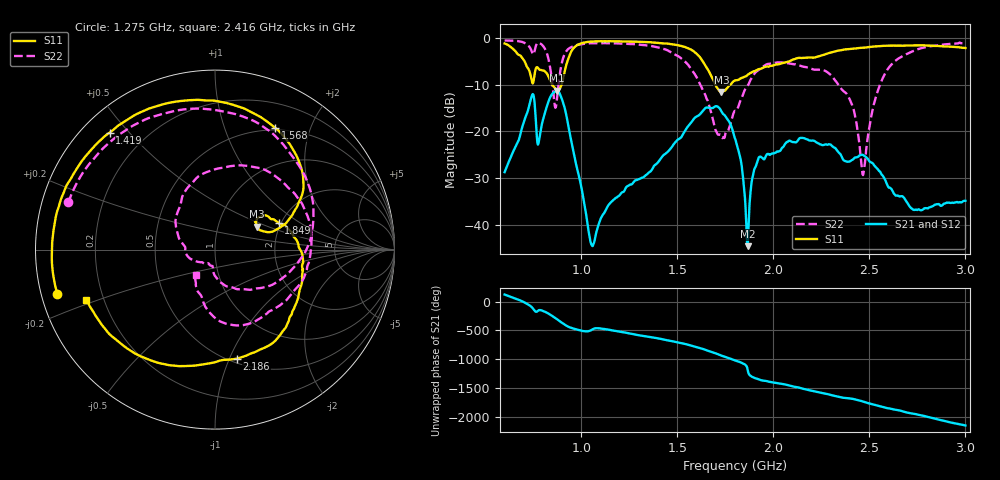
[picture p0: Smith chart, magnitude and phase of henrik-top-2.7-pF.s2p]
#  HZ  S  RI  R  50.00
! Rohde & Schwarz ZVB8 2Ports - Version 2.81 - 1145.1010k08 SN: 100113
! Date: 2016-04-20 03:09:24
! Measurements: S11 S21 S12 S22
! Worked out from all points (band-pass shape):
!   1000 points, 600 MHz to 3 GHz, reference 50 ohm
!   highest |S21| = -11.26 dB at 873.9 MHz (marker M1); lowest = -44.5 dB at 1.866 GHz (marker M2)
!   |S21| within 3 dB of the highest: 729.5 MHz to 756.9 MHz (27.41 MHz wide, 3.69 % of centre); 823.1 MHz to 908 MHz (84.88 MHz wide, 9.81 % of centre)
!   lowest |S11| = -11.5 dB at 1.729 GHz (marker M3), VSWR 1.72, Z = 76.9 + j21 ohm
!   |S11| at or under -10 dB: 847.9 MHz to 896.3 MHz (48.41 MHz wide, 5.55 % of centre); 1.698 GHz to 1.775 GHz (76.94 MHz wide, 4.43 % of centre)
!   |S22| runs from -29.3 to -0.5 dB; largest |S21 - S12| = 0.0034
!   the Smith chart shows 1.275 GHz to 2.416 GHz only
!   S11 on the Smith chart (normalised r, x): 1.275 GHz: 0.05, -0.14; 1.419 GHz: 0.08, +0.44; 1.568 GHz: 0.47, +1.50; 1.849 GHz: 1.95, +0.67; 2.186 GHz: 0.54, -1.06; 2.416 GHz: 0.13, -0.19
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6e8  0.7696 0.4118  -0.02 0.0308  -0.02 0.0307  0.5537 0.7612
6.672673e8  0.2209 -0.6382  0.0608 0.0451  0.0607 0.0452  0.8757 0.3056
7.081081e8  -0.5279 -0.114  0.13 -0.0558  0.13 -0.0556  0.8738 -0.0595
8.114114e8  0.2665 0.3454  -0.1618 -0.00723  -0.162 -0.00702  0.2177 -0.7256
8.738739e8  0.2265 0.1594  0.1639 0.2189  0.1637 0.2188  0.0155 0.2335
1.001201e9  0.8214 -0.316  -0.0201 -0.0139  -0.0201 -0.0139  0.3446 -0.7844
1.123724e9  -0.0396 -0.923  -0.0063 -0.0125  -0.00636 -0.0125  -0.5229 -0.7086
1.275075e9  -0.8783 -0.2477  -0.0261 0.0133  -0.026 0.0134  -0.8174 0.2626
1.4e9  -0.682 0.5649  0.00692 0.0466  0.00687 0.0465  -0.1043 0.7858
1.419219e9  -0.5869 0.6514  0.0191 0.0498  0.0191 0.0499  0.0435 0.7701
1.568168e9  0.3354 0.6785  0.0953 -0.0774  0.0952 -0.0774  0.4728 -0.0572
1.729129e9  0.2329 0.1268  -0.1317 0.0983  -0.1317 0.0981  -0.0311 -0.0822
1.801201e9  0.3018 0.1797  0.0424 0.0712  0.0423 0.0712  -0.1661 0.000264
1.849249e9  0.3552 0.1476  0.0222 -0.00178  0.0222 -0.00176  -0.2202 0.1618
1.866066e9  0.3794 0.1391  -0.00177 -0.00565  -0.00173 -0.0056  -0.1954 0.2401
2.185586e9  0.1213 -0.6073  -0.00892 -0.0798  -0.00887 -0.0797  0.3647 -0.3087
2.2e9  0.0687 -0.6139  -0.0224 -0.0766  -0.0224 -0.0767  0.3301 -0.3308
2.416216e9  -0.7162 -0.281  -0.0177 0.0473  -0.0178 0.0472  -0.1085 -0.1388
2.469069e9  -0.7868 -0.0309  0.0252 0.0496  0.0252 0.0496  0.0129 -0.033
2.601201e9  -0.5856 0.5859  0.0155 -0.0196  0.0156 -0.0196  0.2344 -0.4223
2.75015e9  0.0876 0.8303  -0.0135 -0.00522  -0.0135 -0.00517  -0.4863 -0.5788
3e9  0.7802 -0.0397  0.0178 0.00356  0.0178 0.00354  -0.5646 0.681
